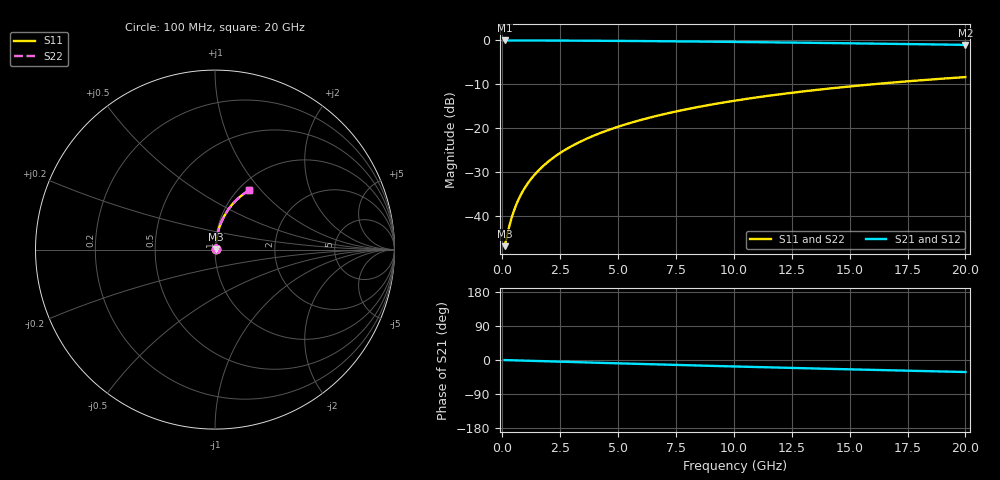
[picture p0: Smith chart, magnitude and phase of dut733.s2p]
! Touchstone file exported from HFSS 2024.1.0
!  File:  C:/UserFiles/LocalFiles/RDL_TSV_Batchsim/temp_RDL_bottom_733_1779858967.aedt
!  Generated:  01:18:37 PM May 27, 2026
!  Design:  RDL_bottom
!  Project:  temp_RDL_bottom_733_1779858967
!  Setup:  Setup1
!  Solution:  Sweep
! Variables:
!  dtsv = 10.80580581um
!  hbump = 3um
!  htsv = 63.22um
!  ldown = 395.41um
!  lrdl = 100um
!  p = 40
!  p1 = 41.63um
!  rhole = 1um
!  t = 450um
!  tdown = 3.3um
!  trdl = 3.915915916um
!  wdown = 10.69um
!  wrdl = 20um
# GHz S MA R 50.000000
! Terminal data exported
! Port[1] = RDL1_T1
! Port[2] = RDL1_T2
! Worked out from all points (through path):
!   200 points, 100 MHz to 20 GHz, reference 50 ohm
!   highest |S21| = -0.04 dB at 100 MHz (marker M1); lowest = -1.0 dB at 20 GHz (marker M2)
!   group delay of S21, straight-line fit = 4.4 ps
!   lowest |S11| = -46.7 dB at 100 MHz (marker M3), VSWR 1.01, Z = 50.4 + j0.219 ohm
!   |S11| at or under -10 dB: start of sweep to 15.97 GHz
!   |S22| runs from -46.7 to -8.3 dB; largest |S21 - S12| = 3.3e-15
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0.1  0.0046 28.1  0.9959 -0.2  0.9959 -0.2  0.0046 28.1
! Gamma 0 0 0 0
! Port Impedance 50 0 50 0
0.3  0.007707 57.1  0.9958 -0.5  0.9958 -0.5  0.007707 57.1
0.4  0.009604 63.5  0.9957 -0.7  0.9957 -0.7  0.009604 63.5
0.5  0.01157 67.7  0.9956 -0.9  0.9956 -0.9  0.01157 67.7
0.6  0.01357 70.6  0.9955 -1.1  0.9955 -1.1  0.01357 70.6
0.7  0.01559 72.8  0.9954 -1.3  0.9954 -1.3  0.01559 72.8
0.9  0.01965 75.6  0.9952 -1.6  0.9952 -1.6  0.01965 75.6
1.2  0.02578 78.1  0.9948 -2.2  0.9948 -2.2  0.02578 78.1
1.4  0.02989 79.2  0.9946 -2.5  0.9946 -2.5  0.02989 79.2
1.7  0.03607 80.2  0.9941 -3.0  0.9941 -3.0  0.03607 80.2
2.2  0.0464 81.1  0.9932 -3.9  0.9932 -3.9  0.0464 81.0
2.8  0.05884 81.4  0.9919 -5.0  0.9919 -5.0  0.05884 81.4
3.5  0.07336 81.2  0.99 -6.2  0.99 -6.2  0.07336 81.2
4.2  0.08787 80.8  0.9878 -7.4  0.9878 -7.4  0.08786 80.8
5  0.1044 80.1  0.9848 -8.8  0.9848 -8.8  0.1044 80.1
5.9  0.1229 79.1  0.981 -10.3  0.981 -10.3  0.1229 79.1
6.8  0.1414 78.0  0.9768 -11.8  0.9768 -11.8  0.1414 78.0
8.3  0.1717 76.1  0.9689 -14.3  0.9689 -14.3  0.1717 76.1
10.1  0.2075 73.6  0.9583 -17.2  0.9583 -17.2  0.2075 73.6
13.4  0.2703 69.0  0.9365 -22.3  0.9365 -22.3  0.2703 69.0
16.7  0.3288 64.4  0.9126 -27.1  0.9126 -27.1  0.3288 64.4
20  0.3824 60.0  0.8874 -31.7  0.8874 -31.7  0.3824 59.9
